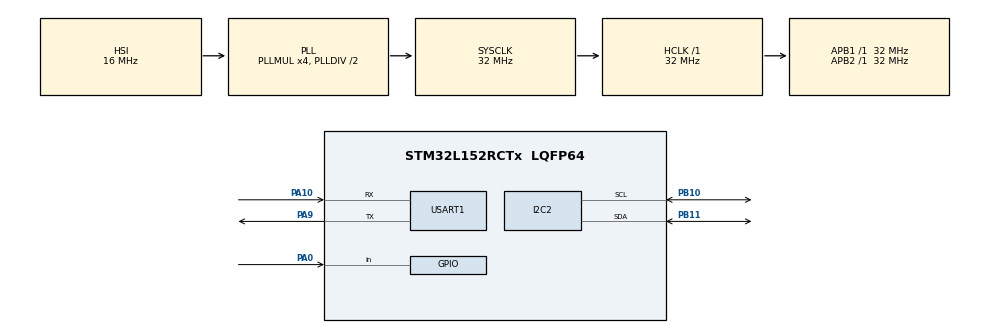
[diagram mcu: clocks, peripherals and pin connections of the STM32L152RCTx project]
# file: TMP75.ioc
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Mcu.Family=STM32L1
Mcu.Name=STM32L152RCTx
Mcu.Package=LQFP64
NVIC.PriorityGroup=NVIC_PRIORITYGROUP_4
PA0-WKUP1.Signal=GPIO_Input
PA10.Mode=Asynchronous
PA10.Signal=USART1_RX
PA9.Mode=Asynchronous
PA9.Signal=USART1_TX
PB10.GPIO_Mode=GPIO_MODE_AF_OD
PB10.GPIO_PuPdOD=GPIO_NOPULL
PB10.GPIO_Speed=GPIO_SPEED_FREQ_VERY_HIGH
PB10.Mode=I2C
PB10.Signal=I2C2_SCL
PB11.GPIO_Mode=GPIO_MODE_AF_OD
PB11.GPIO_PuPdOD=GPIO_NOPULL
PB11.Mode=I2C
PB11.Signal=I2C2_SDA
ProjectManager.HeapSize=0x200
ProjectManager.StackSize=0x400
ProjectManager.TargetToolchain=SW4STM32
RCC.AHBFreq_Value=32000000
RCC.APB1Freq_Value=32000000
RCC.APB1TimFreq_Value=32000000
RCC.APB2Freq_Value=32000000
RCC.APB2TimFreq_Value=32000000
RCC.HCLKFreq_Value=32000000
RCC.HSE_VALUE=24000000
RCC.HSI_VALUE=16000000
RCC.LSE_VALUE=32768
RCC.MSI_VALUE=2097000
RCC.PLLMUL=RCC_PLL_MUL4
RCC.SYSCLKFreq_VALUE=32000000
RCC.SYSCLKSource=RCC_SYSCLKSOURCE_PLLCLK
RCC.USBOutput=32000000
RCC.VCOOutputFreq_Value=64000000
USART1.VirtualMode=VM_ASYNC
board=TMP75

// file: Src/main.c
/**
 ******************************************************************************
 * File Name          : main.c
 * Description        : Main program body
 ******************************************************************************
 ** This notice applies to any and all portions of this file
 * that are not between comment pairs USER CODE BEGIN and
 * USER CODE END. Other portions of this file, whether
 * inserted by the user or by software development tools
 * are owned by their respective copyright owners.
 *
 * COPYRIGHT(c) 2017 STMicroelectronics
 *
 * Redistribution and use in source and binary forms, with or without modification,
 * are permitted provided that the following conditions are met:
 *   1. Redistributions of source code must retain the above copyright notice,
 *      this list of conditions and the following disclaimer.
 *   2. Redistributions in binary form must reproduce the above copyright notice,
 *      this list of conditions and the following disclaimer in the documentation
 *      and/or other materials provided with the distribution.
 *   3. Neither the name of STMicroelectronics nor the names of its contributors
 *      may be used to endorse or promote products derived from this software
 *      without specific prior written permission.
 *
 * THIS SOFTWARE IS PROVIDED BY THE COPYRIGHT HOLDERS AND CONTRIBUTORS "AS IS"
 * AND ANY EXPRESS OR IMPLIED WARRANTIES, INCLUDING, BUT NOT LIMITED TO, THE
 * IMPLIED WARRANTIES OF MERCHANTABILITY AND FITNESS FOR A PARTICULAR PURPOSE ARE
 * DISCLAIMED. IN NO EVENT SHALL THE COPYRIGHT HOLDER OR CONTRIBUTORS BE LIABLE
 * FOR ANY DIRECT, INDIRECT, INCIDENTAL, SPECIAL, EXEMPLARY, OR CONSEQUENTIAL
 * DAMAGES (INCLUDING, BUT NOT LIMITED TO, PROCUREMENT OF SUBSTITUTE GOODS OR
 * SERVICES; LOSS OF USE, DATA, OR PROFITS; OR BUSINESS INTERRUPTION) HOWEVER
 * CAUSED AND ON ANY THEORY OF LIABILITY, WHETHER IN CONTRACT, STRICT LIABILITY,
 * OR TORT (INCLUDING NEGLIGENCE OR OTHERWISE) ARISING IN ANY WAY OUT OF THE USE
 * OF THIS SOFTWARE, EVEN IF ADVISED OF THE POSSIBILITY OF SUCH DAMAGE.
 *
 ******************************************************************************
 */
#include "main.h"
#include "stm32l1xx_hal.h"
#include "Tmp75.h"

I2C_HandleTypeDef hi2c2;

UART_HandleTypeDef huart1;

/* USER CODE BEGIN PV */
/* Private variables ---------------------------------------------------------*/
uint16_t EEPROM;
uint8_t buffer[2];

char str[12];
float Temperature;

/* USER CODE END PV */

void SystemClock_Config(void);
static void MX_GPIO_Init(void);
static void MX_I2C2_Init(void);
static void MX_USART1_UART_Init(void);

/* USER CODE BEGIN PFP */
/* Private function prototypes -----------------------------------------------*/

/* USER CODE END PFP */

int main(void) {

	/* MCU Configuration----------------------------------------------------------*/

	/* Reset of all peripherals, Initializes the Flash interface and the Systick. */
	HAL_Init();

	/* Configure the system clock */
	SystemClock_Config();

	/* Initialize all configured peripherals */
	MX_GPIO_Init();
	MX_I2C2_Init();
	MX_USART1_UART_Init();

	/* USER CODE BEGIN 2 */
	Tmp75_Init();
	/* USER CODE END 2 */

	/* Infinite loop */
	while (1) {

		/* USER CODE BEGIN 3 */
		One_ShotTemp();
		Read_TempCelsius(&Temperature);
		sprintf(str, "TEMP: %.4f", Temperature);
		HAL_UART_Transmit(&huart1, (uint8_t*) str, 12, 100);
		HAL_UART_Transmit(&huart1, (uint8_t*) "\n", 1, 100);
		Read_TempEeprom(&EEPROM);
		sprintf(str, "MEM: %i", EEPROM);
		HAL_UART_Transmit(&huart1, (uint8_t*) str, 8, 100);
		HAL_UART_Transmit(&huart1, (uint8_t*) "\n", 1, 100);

		HAL_Delay(1000);
	}
	/* USER CODE END 3 */

}

/** System Clock Configuration
 */
void SystemClock_Config(void) {

	RCC_OscInitTypeDef RCC_OscInitStruct;
	RCC_ClkInitTypeDef RCC_ClkInitStruct;

	/**Configure the main internal regulator output voltage
	 */
	__HAL_PWR_VOLTAGESCALING_CONFIG(PWR_REGULATOR_VOLTAGE_SCALE1);

	/**Initializes the CPU, AHB and APB busses clocks
	 */
	RCC_OscInitStruct.OscillatorType = RCC_OSCILLATORTYPE_HSI;
	RCC_OscInitStruct.HSIState = RCC_HSI_ON;
	RCC_OscInitStruct.HSICalibrationValue = 16;
	RCC_OscInitStruct.PLL.PLLState = RCC_PLL_ON;
	RCC_OscInitStruct.PLL.PLLSource = RCC_PLLSOURCE_HSI;
	RCC_OscInitStruct.PLL.PLLMUL = RCC_PLL_MUL4;
	RCC_OscInitStruct.PLL.PLLDIV = RCC_PLL_DIV2;
	if (HAL_RCC_OscConfig(&RCC_OscInitStruct) != HAL_OK) {
		_Error_Handler(__FILE__, __LINE__);
	}

	/**Initializes the CPU, AHB and APB busses clocks
	 */
	RCC_ClkInitStruct.ClockType = RCC_CLOCKTYPE_HCLK | RCC_CLOCKTYPE_SYSCLK
			| RCC_CLOCKTYPE_PCLK1 | RCC_CLOCKTYPE_PCLK2;
	RCC_ClkInitStruct.SYSCLKSource = RCC_SYSCLKSOURCE_PLLCLK;
	RCC_ClkInitStruct.AHBCLKDivider = RCC_SYSCLK_DIV1;
	RCC_ClkInitStruct.APB1CLKDivider = RCC_HCLK_DIV1;
	RCC_ClkInitStruct.APB2CLKDivider = RCC_HCLK_DIV1;

	if (HAL_RCC_ClockConfig(&RCC_ClkInitStruct, FLASH_LATENCY_1) != HAL_OK) {
		_Error_Handler(__FILE__, __LINE__);
	}

	/**Configure the Systick interrupt time
	 */
	HAL_SYSTICK_Config(HAL_RCC_GetHCLKFreq() / 1000);

	/**Configure the Systick
	 */
	HAL_SYSTICK_CLKSourceConfig(SYSTICK_CLKSOURCE_HCLK);

	/* SysTick_IRQn interrupt configuration */
	HAL_NVIC_SetPriority(SysTick_IRQn, 0, 0);
}

/* I2C2 init function */
static void MX_I2C2_Init(void) {

	hi2c2.Instance = I2C2;
	hi2c2.Init.ClockSpeed = 100000;
	hi2c2.Init.DutyCycle = I2C_DUTYCYCLE_2;
	hi2c2.Init.OwnAddress1 = 0;
	hi2c2.Init.AddressingMode = I2C_ADDRESSINGMODE_7BIT;
	hi2c2.Init.DualAddressMode = I2C_DUALADDRESS_DISABLE;
	hi2c2.Init.OwnAddress2 = 0;
	hi2c2.Init.GeneralCallMode = I2C_GENERALCALL_DISABLE;
	hi2c2.Init.NoStretchMode = I2C_NOSTRETCH_DISABLE;
	if (HAL_I2C_Init(&hi2c2) != HAL_OK) {
		_Error_Handler(__FILE__, __LINE__);
	}

}

/* USART1 init function */
static void MX_USART1_UART_Init(void) {

	huart1.Instance = USART1;
	huart1.Init.BaudRate = 115200;
	huart1.Init.WordLength = UART_WORDLENGTH_8B;
	huart1.Init.StopBits = UART_STOPBITS_1;
	huart1.Init.Parity = UART_PARITY_NONE;
	huart1.Init.Mode = UART_MODE_TX_RX;
	huart1.Init.HwFlowCtl = UART_HWCONTROL_NONE;
	huart1.Init.OverSampling = UART_OVERSAMPLING_16;
	if (HAL_UART_Init(&huart1) != HAL_OK) {
		_Error_Handler(__FILE__, __LINE__);
	}

}

/** Configure pins as
 * Analog
 * Input
 * Output
 * EVENT_OUT
 * EXTI
 */
static void MX_GPIO_Init(void) {

	GPIO_InitTypeDef GPIO_InitStruct;

	/* GPIO Ports Clock Enable */
	__HAL_RCC_GPIOA_CLK_ENABLE()
	;
	__HAL_RCC_GPIOB_CLK_ENABLE()
	;

	/*Configure GPIO pin : PA0 */
	GPIO_InitStruct.Pin = GPIO_PIN_0;
	GPIO_InitStruct.Mode = GPIO_MODE_INPUT;
	GPIO_InitStruct.Pull = GPIO_NOPULL;
	HAL_GPIO_Init(GPIOA, &GPIO_InitStruct);

}

void _Error_Handler(char * file, int line) {
	while (1) {
	}
}

/************************ (C) COPYRIGHT STMicroelectronics *****END OF FILE****/
